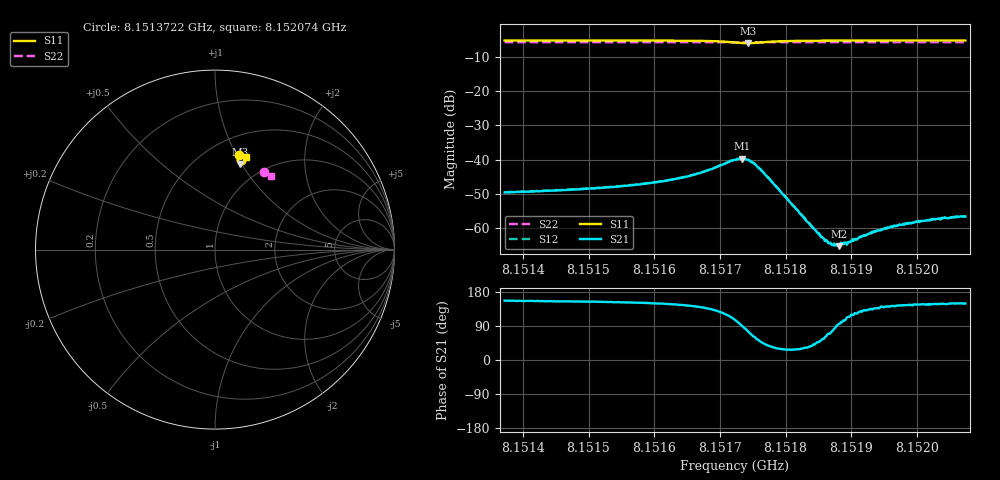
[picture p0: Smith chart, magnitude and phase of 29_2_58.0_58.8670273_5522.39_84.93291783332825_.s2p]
#  HZ  S  RI  R  50.00
! Rohde & Schwarz Vector Network Analyzer
! Rohde-Schwarz,ZNB20-2Port,1311601062101988,3.16
! Created: UTC 3/21/2024, 12:51:36 AM
! freq[Hz]  re:S11  im:S11  re:S21  im:S21  re:S12  im:S12  re:S22  im:S22
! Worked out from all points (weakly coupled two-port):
!   401 points, 8.1513722 GHz to 8.152074 GHz, reference 50 ohm
!   highest |S21| = -39.76 dB at 8.1517336 GHz (marker M1); lowest = -65.3 dB at 8.151881 GHz (marker M2)
!   lowest |S11| = -6.1 dB at 8.1517424 GHz (marker M3), VSWR 2.97, Z = 39.1 + j49.3 ohm
!   |S11| at or under -10 dB: nowhere
!   |S22| runs from -5.8 to -5.8 dB; largest |S21 - S12| = 0.00034
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8.15137217e9  0.1331 0.5273  -0.00305 0.0013  -0.00306 0.0014  0.2746 0.4345
8.15148973e9  0.143 0.5245  -0.00334 0.00161  -0.00336 0.00169  0.2811 0.4302
8.15154938e9  0.1488 0.5226  -0.00359 0.0019  -0.00362 0.00194  0.2843 0.428
8.15160728e9  0.1554 0.5194  -0.00406 0.00246  -0.00404 0.0025  0.2874 0.4258
8.15163711e9  0.1597 0.5168  -0.00438 0.003  -0.0044 0.00309  0.289 0.4244
8.15166869e9  0.1651 0.5114  -0.00481 0.00407  -0.00483 0.00418  0.2908 0.423
8.15172308e9  0.1638 0.4816  -0.00272 0.0096  -0.0026 0.00964  0.293 0.42
8.15173361e9  0.1528 0.4752  3.9e-05 0.0103  5.9e-05 0.0103  0.293 0.4196
8.15174238e9  0.1406 0.4758  0.00236 0.00962  0.00244 0.00962  0.2929 0.4196
8.15175291e9  0.1296 0.4842  0.00423 0.00758  0.00444 0.00743  0.2932 0.4195
8.15176168e9  0.1259 0.4935  0.00479 0.00543  0.00485 0.00541  0.2938 0.4197
8.15184064e9  0.1455 0.5195  0.00082 0.000636  0.000835 0.000659  0.2988 0.4174
8.15185643e9  0.1485 0.5198  0.000412 0.0006  0.000407 0.000609  0.2997 0.4168
8.15186345e9  0.1497 0.5199  0.000254 0.000586  0.0003 0.000583  0.3 0.4165
8.15187397e9  0.1513 0.5199  7.85e-05 0.00055  9.18e-05 0.000594  0.3007 0.4161
8.15188099e9  0.1522 0.5199  -4.52e-05 0.000543  1.52e-06 0.000583  0.301 0.4159
8.15188801e9  0.1533 0.5199  -0.000147 0.000567  -0.000112 0.000574  0.3013 0.4155
8.15189503e9  0.1543 0.5199  -0.000237 0.000552  -0.000215 0.000599  0.3018 0.4153
8.15193012e9  0.1584 0.5194  -0.000615 0.000608  -0.000582 0.000612  0.3037 0.4138
8.15195819e9  0.1614 0.519  -0.000785 0.000641  -0.000823 0.000658  0.3051 0.4127
8.15202662e9  0.1677 0.5176  -0.00115 0.000733  -0.00114 0.000742  0.3086 0.41
8.15207399e9  0.1716 0.5167  -0.00127 0.000752  -0.00127 0.000774  0.3113 0.4081
